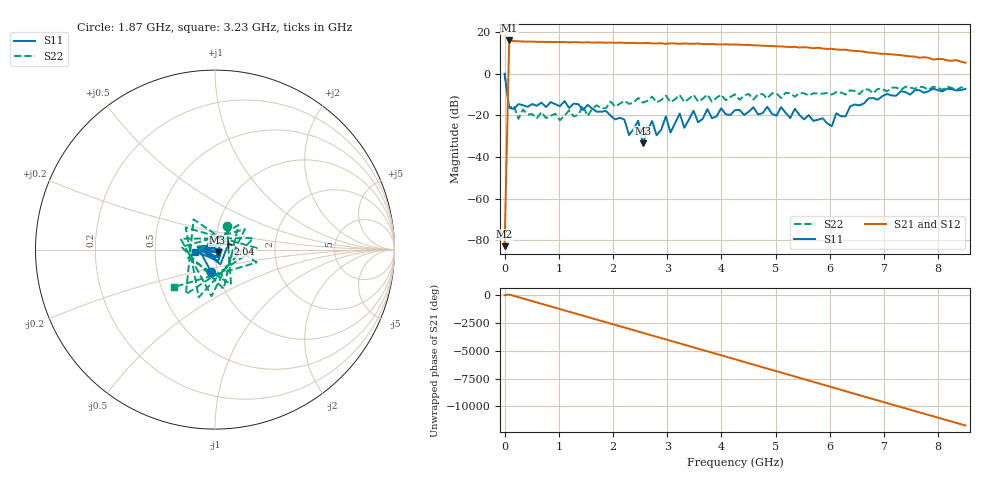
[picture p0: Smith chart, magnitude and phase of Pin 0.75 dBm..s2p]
! RsaToolbox (C) 2013 Rohde & Schwarz America
! Number of points: 101
! Number of ports: 2
! Balanced ports?: 0
# Hz S RI R 50
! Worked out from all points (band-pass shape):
!   101 points, 9 kHz to 8.5 GHz, reference 50 ohm
!   highest |S21| = 15.94 dB at 85.01 MHz (marker M1); lowest = -82.9 dB at 9 kHz (marker M2)
!   |S21| within 3 dB of the highest: 82.43 MHz to 5.16 GHz (5.078 GHz wide, 194 % of centre)
!   lowest |S11| = -33.5 dB at 2.55 GHz (marker M3), VSWR 1.04, Z = 51.4 - j1.63 ohm
!   |S11| at or under -10 dB: 51.74 MHz to 7.035 GHz (6.983 GHz wide, 197 % of centre); 7.083 GHz to 7.248 GHz (164.6 MHz wide, 2.3 % of centre); 7.473151 GHz to 7.484061 GHz (10.91 MHz wide, 0.146 % of centre)
!   |S22| runs from -22.4 to 0.1 dB; largest |S21 - S12| = 0
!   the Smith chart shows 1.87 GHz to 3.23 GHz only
!   S11 on the Smith chart (normalised r, x): 1.87 GHz: 0.93, -0.24; 2.04 GHz: 1.16, +0.07; 3.23 GHz: 0.80, -0.02
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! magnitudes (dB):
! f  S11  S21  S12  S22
! 9 kHz  0.0  -82.9  -82.9  0.1
! 85.01 MHz  -16.4  15.9  15.9  -16.6
! 1.02 GHz  -15.6  15.2  15.2  -22.4
! 1.445 GHz  -17.5  15.0  15.0  -15.3
! 1.87 GHz  -18.0  14.9  14.9  -16.6
! 2.04 GHz  -22.0  14.8  14.8  -15.9
! 2.295 GHz  -29.5  14.8  14.8  -14.6
! 2.465 GHz  -22.6  14.7  14.7  -11.7
! 2.55 GHz  -33.5  14.7  14.7  -13.9
! 2.72 GHz  -22.8  14.5  14.5  -11.1
! 2.89 GHz  -26.9  14.6  14.6  -12.7
! 2.975 GHz  -20.5  14.3  14.3  -10.6
! 3.06 GHz  -28.3  14.6  14.6  -13.7
! 3.23 GHz  -19.1  14.3  14.3  -10.2
! 3.315 GHz  -26.0  14.5  14.5  -13.6
! 3.485 GHz  -17.8  14.3  14.3  -10.2
! 3.57 GHz  -23.3  14.5  14.5  -13.4
! 4.25 GHz  -17.5  14.0  14.0  -9.9
! 5.695 GHz  -22.7  12.2  12.2  -9.5
! 6.035 GHz  -25.3  12.0  12.0  -10.0
! 7.14 GHz  -10.5  9.3  9.3  -6.8
! 8.5 GHz  -7.4  5.2  5.2  -6.7
